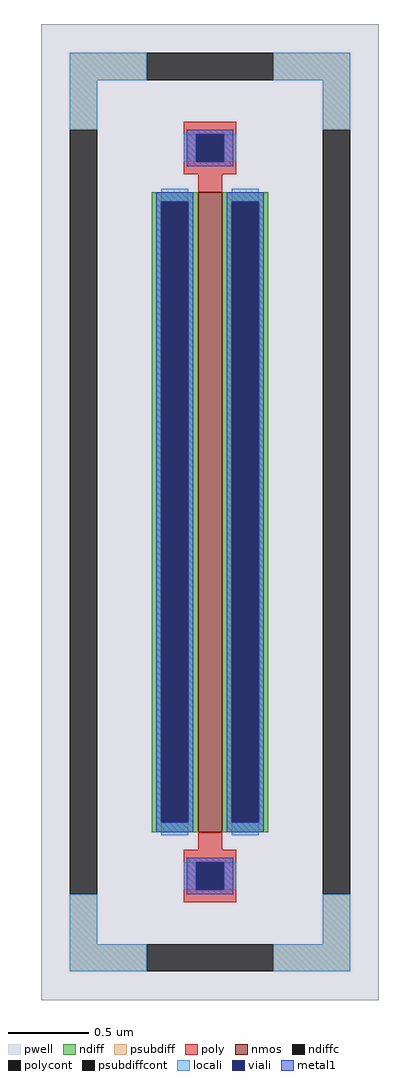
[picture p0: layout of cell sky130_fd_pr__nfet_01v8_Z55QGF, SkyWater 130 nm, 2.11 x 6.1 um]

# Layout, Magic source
magic
tech sky130A
magscale 1 2
<< pwell >>
rect -211 -610 211 610
<< nmos >>
rect -15 -400 15 400
<< ndiff >>
rect -73 388 -15 400
rect -73 -388 -61 388
rect -27 -388 -15 388
rect -73 -400 -15 -388
rect 15 388 73 400
rect 15 -388 27 388
rect 61 -388 73 388
rect 15 -400 73 -388
<< ndiffc >>
rect -61 -388 -27 388
rect 27 -388 61 388
<< psubdiff >>
rect -175 540 -79 574
rect 79 540 175 574
rect -175 478 -141 540
rect 141 478 175 540
rect -175 -540 -141 -478
rect 141 -540 175 -478
rect -175 -574 -79 -540
rect 79 -574 175 -540
<< psubdiffcont >>
rect -79 540 79 574
rect -175 -478 -141 478
rect 141 -478 175 478
rect -79 -574 79 -540
<< poly >>
rect -33 472 33 488
rect -33 438 -17 472
rect 17 438 33 472
rect -33 422 33 438
rect -15 400 15 422
rect -15 -422 15 -400
rect -33 -438 33 -422
rect -33 -472 -17 -438
rect 17 -472 33 -438
rect -33 -488 33 -472
<< polycont >>
rect -17 438 17 472
rect -17 -472 17 -438
<< locali >>
rect -175 540 -79 574
rect 79 540 175 574
rect -175 478 -141 540
rect 141 478 175 540
rect -33 438 -17 472
rect 17 438 33 472
rect -61 388 -27 404
rect -61 -404 -27 -388
rect 27 388 61 404
rect 27 -404 61 -388
rect -33 -472 -17 -438
rect 17 -472 33 -438
rect -175 -540 -141 -478
rect 141 -540 175 -478
rect -175 -574 -79 -540
rect 79 -574 175 -540
<< viali >>
rect -17 438 17 472
rect -61 -388 -27 388
rect 27 -388 61 388
rect -17 -472 17 -438
<< metal1 >>
rect -29 472 29 478
rect -29 438 -17 472
rect 17 438 29 472
rect -29 432 29 438
rect -67 388 -21 400
rect -67 -388 -61 388
rect -27 -388 -21 388
rect -67 -400 -21 -388
rect 21 388 67 400
rect 21 -388 27 388
rect 61 -388 67 388
rect 21 -400 67 -388
rect -29 -438 29 -432
rect -29 -472 -17 -438
rect 17 -472 29 -438
rect -29 -478 29 -472
<< properties >>
string FIXED_BBOX -158 -557 158 557
string gencell sky130_fd_pr__nfet_01v8
string library sky130
string parameters w 4 l 0.150 m 1 nf 1 diffcov 100 polycov 100 guard 1 glc 1 grc 1 gtc 1 gbc 1 tbcov 100 rlcov 100 topc 1 botc 1 poverlap 0 doverlap 1 lmin 0.15 wmin 0.42 compatible {sky130_fd_pr__nfet_01v8 sky130_fd_pr__nfet_01v8_lvt  sky130_fd_bs_flash__special_sonosfet_star  sky130_fd_pr__nfet_g5v0d10v5 sky130_fd_pr__nfet_05v0_nvt  sky130_fd_pr__nfet_03v3_nvt} full_metal 1 viasrc 100 viadrn 100 viagate 100 viagb 0 viagr 0 viagl 0 viagt 0
<< end >>
